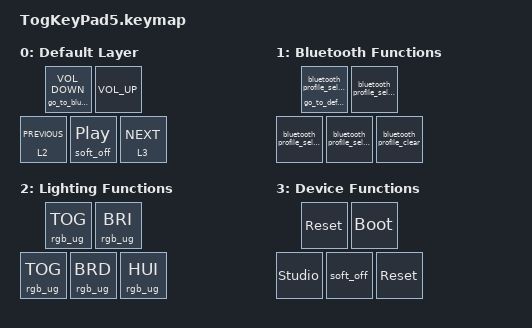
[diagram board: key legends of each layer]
#include <behaviors.dtsi>
#include <dt-bindings/zmk/keys.h>
#include <dt-bindings/zmk/bt.h>
#include <dt-bindings/zmk/rgb.h>

/ {
     macros {
        go_to_bluetooth_layer: go_to_bluetooth_layer {
            compatible = "zmk,behavior-macro";
            #binding-cells = <0>;
            bindings = <&macro_press &to 1>, <&macro_press &rgb_ug RGB_ON>, <&macro_press &rgb_ug RGB_EFF>; 
        };

        go_to_default_layer: go_to_default_layer {
            compatible = "zmk,behavior-macro";
            #binding-cells = <0>;
            bindings = <&macro_press &to 0>, <&macro_press &rgb_ug RGB_EFR>; 
        };

        bluetooth_profile_clear: bluetooth_profile_clear {
            compatible = "zmk,behavior-macro";
            #binding-cells = <0>;
            bindings = <&macro_press &bt BT_CLR>
            , <&macro_press &rgb_ug RGB_TOG>
            , <&macro_wait_time 100>
            , <&macro_press &rgb_ug RGB_TOG>
            ,  <&macro_wait_time 100>
            , <&macro_press &rgb_ug RGB_TOG>
            , <&macro_wait_time 100>
            , <&macro_press &rgb_ug RGB_TOG>
            , <&macro_wait_time 100>
            , <&macro_press &rgb_ug RGB_TOG>
            , <&macro_wait_time 100>
            , <&macro_press &rgb_ug RGB_TOG>
            , <&macro_wait_time 100>
            , <&macro_press &rgb_ug RGB_TOG>
            , <&macro_wait_time 100>
            , <&macro_press &rgb_ug RGB_TOG>
            , <&macro_wait_time 100>
            , <&macro_press &rgb_ug RGB_TOG>
            , <&macro_wait_time 100>
            , <&macro_press &rgb_ug RGB_TOG>; 
        };

        bluetooth_profile_select_0: bluetooth_profile_select_0 {
            compatible = "zmk,behavior-macro";
            #binding-cells = <0>;
            bindings = <&macro_press &bt BT_SEL 0>
            , <&macro_press &rgb_ug RGB_TOG>
            , <&macro_wait_time 100>
            , <&macro_press &rgb_ug RGB_TOG>
            , <&macro_wait_time 100>
            , <&macro_press &rgb_ug RGB_TOG>
            , <&macro_wait_time 100>
            , <&macro_press &rgb_ug RGB_TOG>
            , <&macro_wait_time 100>
            , <&macro_press &rgb_ug RGB_TOG>
            , <&macro_wait_time 100>
            , <&macro_press &rgb_ug RGB_TOG>; 
        };

        bluetooth_profile_select_1: bluetooth_profile_select_1 {
            compatible = "zmk,behavior-macro";
            #binding-cells = <0>;
            bindings = <&macro_press &bt BT_SEL 1>
            , <&macro_press &rgb_ug RGB_TOG>
            , <&macro_wait_time 100>
            , <&macro_press &rgb_ug RGB_TOG>
            , <&macro_wait_time 100>
            , <&macro_press &rgb_ug RGB_TOG>
            , <&macro_wait_time 100>
            , <&macro_press &rgb_ug RGB_TOG>
            , <&macro_wait_time 100>
            , <&macro_press &rgb_ug RGB_TOG>
            , <&macro_wait_time 100>
            , <&macro_press &rgb_ug RGB_TOG>; 
        };

        bluetooth_profile_select_2: bluetooth_profile_select_2 {
            compatible = "zmk,behavior-macro";
            #binding-cells = <0>;
            bindings = <&macro_press &bt BT_SEL 2>
            , <&macro_press &rgb_ug RGB_TOG>
            , <&macro_wait_time 100>
            , <&macro_press &rgb_ug RGB_TOG>
            , <&macro_wait_time 100>
            , <&macro_press &rgb_ug RGB_TOG>
            , <&macro_wait_time 100>
            , <&macro_press &rgb_ug RGB_TOG>
            , <&macro_wait_time 100>
            , <&macro_press &rgb_ug RGB_TOG>
            , <&macro_wait_time 100>
            , <&macro_press &rgb_ug RGB_TOG>; 
        };

        bluetooth_profile_select_3: bluetooth_profile_select_3 {
            compatible = "zmk,behavior-macro";
            #binding-cells = <0>;
            bindings = <&macro_press &bt BT_SEL 3>
            , <&macro_press &rgb_ug RGB_TOG>
            , <&macro_wait_time 100>
            , <&macro_press &rgb_ug RGB_TOG>
            ,  <&macro_wait_time 100>
            , <&macro_press &rgb_ug RGB_TOG>
            , <&macro_wait_time 100>
            , <&macro_press &rgb_ug RGB_TOG>
            , <&macro_wait_time 100>
            , <&macro_press &rgb_ug RGB_TOG>
            , <&macro_wait_time 100>
            , <&macro_press &rgb_ug RGB_TOG>; 
        };
    };

    behaviors {
        my_mt: bluetooth_layer {
            compatible = "zmk,behavior-hold-tap";
            label = "BLUETOOTH_LAYER";
            #binding-cells = <2>;
            flavor = "tap-preferred";
            tapping-term-ms = <2000>;
            bindings = <&go_to_bluetooth_layer>, <&kp>;
            display-name = "Hold-Tap Access Bluetooth Settings";
        };

        my_mt1: default_layer {
            compatible = "zmk,behavior-hold-tap";
            label = "DEFAULT_LAYER";
            #binding-cells = <2>;
            flavor = "tap-preferred";
            tapping-term-ms = <1000>;
            bindings = <&go_to_default_layer>, <&bluetooth_profile_select_0>;
            display-name = "Hold-Tap To Default Layer + Bluetooth 0";
        };

        my_mt2: soft_off {
            compatible = "zmk,behavior-hold-tap";
            label = "Soft Off";
            #binding-cells = <2>;
            flavor = "tap-preferred";
            tapping-term-ms = <3000>;
            bindings = <&soft_off>, <&kp>;
            display-name = "Hold-Tap Soft Off";
        };

        my_mt3: layer_select {
            compatible = "zmk,behavior-hold-tap";
            label = "Access Layer";
            #binding-cells = <2>;
            flavor = "hold-preferred";
            tapping-term-ms = <300>;
            bindings = <&mo>, <&kp>;
            display-name = "Hold-Tap Change Layer";
        };
    };

    keymap {
        compatible = "zmk,keymap";

        default_layer { // Layer 0
            display-name = "Default Layer";
            // -------------------------------------
            //       |     Vol -/Layer 1     |     Vol +     |
            // |     Prev     |     Play     |     Next     |
            bindings = <
                &my_mt 0 C_VOLUME_DOWN
                &kp C_VOLUME_UP
                &my_mt3 2 C_PREVIOUS
                &my_mt2 0 C_PLAY_PAUSE
                &my_mt3 3 C_NEXT
            >;
        };

        bluetooth_layer { // Layer 1
            display-name = "Bluetooth Functions";
            // -------------------------------------
            //       |     BT 0     |     BT 1     |
            // |     BT 2    |     BT 3     |     BT CLR     |
            bindings = <
                &my_mt1 0 0
                &bluetooth_profile_select_1
                &bluetooth_profile_select_2
                &bluetooth_profile_select_3
                &bluetooth_profile_clear
            >;
        };

        lighting_layer { // Layer 2
            display-name = "Lighting Functions";
            // -------------------------------------
            //       |     RGB TOG     |     Brightness Up     |
            // |     None     |     Brightness Down    |     Hue     |
            bindings = <
                &rgb_ug RGB_TOG
                &rgb_ug RGB_BRI
                &rgb_ug RGB_TOG
                &rgb_ug RGB_BRD
                &rgb_ug RGB_HUI
            >;
        };

        device_layer { // Layer 2
            display-name = "Device Functions";
            // -------------------------------------
            // |     None     |     None    |     None     |
            // |     Studio Unlock     |     Soft Off    |     Reset     |
            bindings = <
                &sys_reset
                &bootloader
                &studio_unlock
                &soft_off
                &sys_reset
            >;
        };
    };
 };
